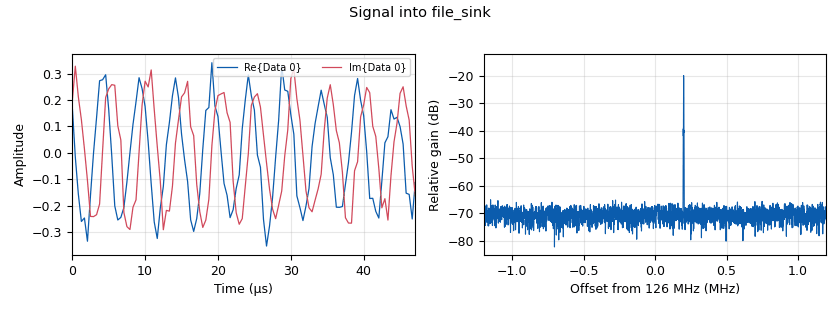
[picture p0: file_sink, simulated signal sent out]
options:
  parameters:
    author: ECE 448
    description: 'L7: writes L07-am-test.sigmf-data and .sigmf-meta, 4 s of 2.4 MS/s IQ centered on 126.0 MHz with one DSB-AM station at 126.2 MHz carrying the L6 two-tone message at m = 0.5. Simulated; nothing transmits.'
    generate_options: no_gui
    id: L07_am_test_tx
    output_language: python
    run_options: run
    title: L7 - AM Test File
  states: {}

blocks:
- name: m
  id: variable
  parameters:
    value: '0.5'
  states: {}
- name: noise_amp
  id: variable
  parameters:
    value: '0.05'
  states: {}
- name: offset
  id: variable
  parameters:
    value: 200e3
  states: {}
- name: samp_rate
  id: variable
  parameters:
    value: 2.4e6
  states: {}
- name: seconds
  id: variable
  parameters:
    value: '4'
  states: {}
- name: band
  id: blocks_add_xx
  parameters:
    type: complex
  states: {}
- name: carrier
  id: analog_sig_source_x
  parameters:
    amp: '0.3'
    freq: offset
    offset: '0'
    phase: '0'
    samp_rate: samp_rate
    type: complex
    waveform: analog.GR_COS_WAVE
  states: {}
- name: duration
  id: blocks_head
  parameters:
    num_items: int(seconds * samp_rate)
    type: complex
  states: {}
- name: file_sink
  id: blocks_sigmf_sink_minimal
  parameters:
    author: ECE 448
    center_freq: 126e6
    description: 'L7 AM test station, Simulated: DSB-AM at 126.2 MHz with the L6 two-tone message.'
    filename: L07-am-test
    hw_info: Simulated in GNU Radio; no radio
    sample_rate: samp_rate
    type: complex float (fc32_le)
  states: {}
- name: message
  id: blocks_add_xx
  parameters:
    type: float
  states: {}
- name: modulator
  id: blocks_multiply_xx
  parameters:
    type: complex
  states: {}
- name: noise
  id: analog_noise_source_x
  parameters:
    amp: noise_amp
    noise_type: analog.GR_GAUSSIAN
    seed: '448'
    type: complex
  states: {}
- name: plus_1
  id: blocks_add_const_vxx
  parameters:
    const: '1'
    type: float
  states: {}
- name: times_m
  id: blocks_multiply_const_vxx
  parameters:
    const: m
    type: float
  states: {}
- name: to_complex
  id: blocks_float_to_complex
  parameters: {}
  states: {}
- name: tone_1k
  id: analog_sig_source_x
  parameters:
    amp: '0.6'
    freq: '1000'
    offset: '0'
    phase: '0'
    samp_rate: samp_rate
    type: float
    waveform: analog.GR_COS_WAVE
  states: {}
- name: tone_2k5
  id: analog_sig_source_x
  parameters:
    amp: '0.4'
    freq: '2500'
    offset: '0'
    phase: '0'
    samp_rate: samp_rate
    type: float
    waveform: analog.GR_COS_WAVE
  states: {}

connections:
- [band, '0', duration, '0']
- [carrier, '0', modulator, '1']
- [duration, '0', file_sink, '0']
- [message, '0', times_m, '0']
- [modulator, '0', band, '0']
- [noise, '0', band, '1']
- [plus_1, '0', to_complex, '0']
- [times_m, '0', plus_1, '0']
- [to_complex, '0', modulator, '0']
- [tone_1k, '0', message, '0']
- [tone_2k5, '0', message, '1']

metadata:
  file_format: 1
  grc_version: 3.10.9.2
